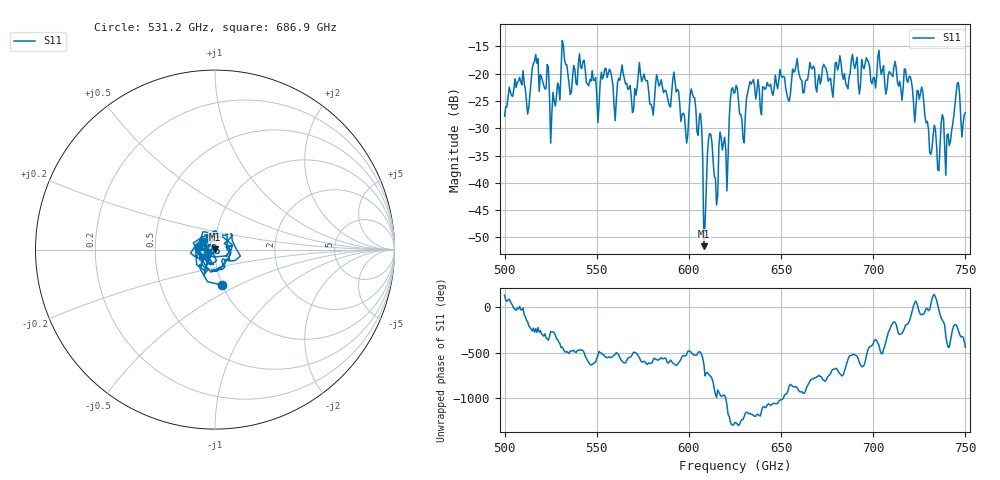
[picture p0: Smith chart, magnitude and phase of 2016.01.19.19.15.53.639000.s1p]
!Created with skrf (http://scikit-rf.org).
# GHz S RI R 50.0
!freq ReS11 ImS11
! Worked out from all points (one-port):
!   401 points, 500 GHz to 750 GHz, reference 50 ohm
!   lowest |S11| = -51.6 dB at 608.1 GHz (marker M1), VSWR 1.01, Z = 50 + j0.262 ohm
!   |S11| at or under -10 dB: start of sweep to end of sweep
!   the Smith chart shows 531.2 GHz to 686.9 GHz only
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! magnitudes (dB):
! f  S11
! 500 GHz  -27.8
! 508.8 GHz  -21.5
! 513.1 GHz  -26.2
! 516.9 GHz  -16.5
! 526.2 GHz  -23.4
! 531.2 GHz  -13.9
! 550.6 GHz  -29.0
! 562.5 GHz  -21.2
! 580 GHz  -26.2
! 593.8 GHz  -22.9
! 598.1 GHz  -30.2
! 602.5 GHz  -24.3
! 606.2 GHz  -27.3
! 608.1 GHz  -51.6
! 611.2 GHz  -31.0
! 614.4 GHz  -39.2
! 617.5 GHz  -31.7
! 620 GHz  -33.9
! 625 GHz  -23.4
! 629.4 GHz  -32.0
! 633.8 GHz  -21.9
! 656.2 GHz  -19.2
! 687.5 GHz  -19.9
! 718.8 GHz  -21.6
! 735 GHz  -37.7
! 740.6 GHz  -31.0
! 745.6 GHz  -21.7
! 750 GHz  -27.1
